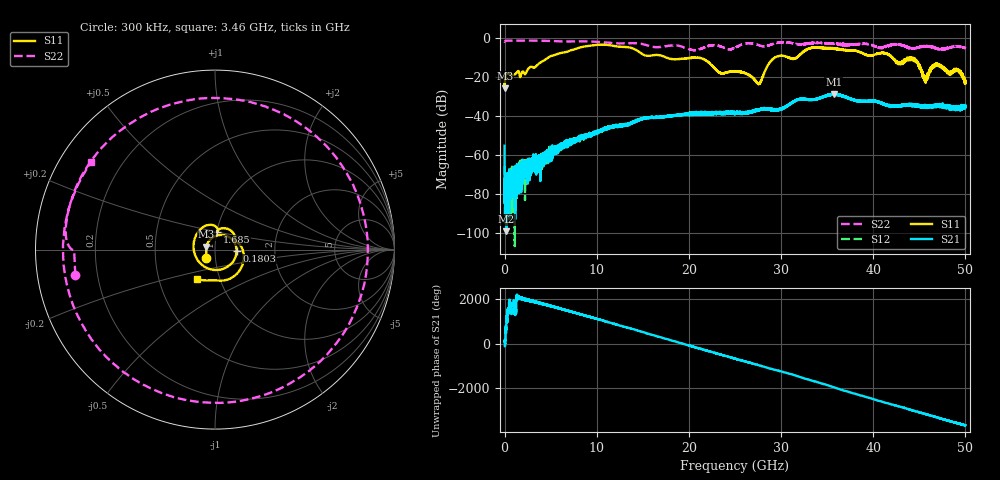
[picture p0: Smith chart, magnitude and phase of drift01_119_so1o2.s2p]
!Created with skrf (http://scikit-rf.org).
# Hz S RI R 50.0
!freq ReS11 ImS11 ReS21 ImS21 ReS12 ImS12 ReS22 ImS22
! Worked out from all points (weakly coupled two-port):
!   10001 points, 300 kHz to 50 GHz, reference 50 ohm
!   highest |S21| = -28.70 dB at 35.71 GHz (marker M1); lowest = -99.0 dB at 190.3 MHz (marker M2)
!   lowest |S11| = -25.8 dB at 5.3 MHz (marker M3), VSWR 1.11, Z = 45.3 + j1.41 ohm
!   |S11| at or under -10 dB: start of sweep to 4.77 GHz; 17.52 GHz to 29.37 GHz (11.85 GHz wide, 50.5 % of centre); 44.15 GHz to end of sweep (the widest 3 of 10)
!   |S22| runs from -6.4 to -1.4 dB; largest |S21 - S12| = 0.0036
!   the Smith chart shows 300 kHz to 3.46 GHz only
!   S11 on the Smith chart (normalised r, x): 300 kHz: 0.90, -0.08; 180.3 MHz: 1.27, -0.01; 1.685 GHz: 1.01, +0.20; 3.46 GHz: 0.78, -0.26
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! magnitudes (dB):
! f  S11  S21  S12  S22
! 300 kHz  -23.6  -55.2  -65.7  -2.0
! 5.3 MHz  -25.8  -84.8  -76.4  -2.1
! 180.3 MHz  -18.4  -82.4  -83.5  -1.4
! 190.3 MHz  -18.3  -99.0  -79.4  -1.4
! 1.685 GHz  -20.1  -67.4  -65.0  -1.4
! 3.46 GHz  -14.3  -66.3  -66.3  -1.5
! 8.335 GHz  -4.8  -51.0  -51.1  -1.8
! 16.67 GHz  -8.8  -40.4  -40.8  -4.8
! 21.22 GHz  -10.3  -38.4  -38.8  -5.7
! 23.39 GHz  -17.9  -38.6  -38.6  -4.4
! 25 GHz  -17.1  -38.6  -38.3  -5.1
! 27.59 GHz  -23.5  -36.6  -37.1  -3.8
! 29.28 GHz  -10.3  -36.6  -36.6  -2.9
! 31.47 GHz  -10.7  -32.3  -32.4  -2.9
! 33.34 GHz  -5.1  -31.7  -31.6  -2.7
! 35.71 GHz  -5.5  -28.7  -28.8  -3.0
! 41.67 GHz  -8.6  -34.7  -34.6  -4.3
! 42.79 GHz  -13.1  -34.8  -34.8  -3.6
! 44.47 GHz  -10.5  -34.8  -34.6  -5.5
! 45.63 GHz  -20.7  -34.8  -35.2  -4.3
! 46.98 GHz  -13.2  -35.2  -34.7  -5.7
! 50 GHz  -22.0  -35.4  -34.8  -5.3
